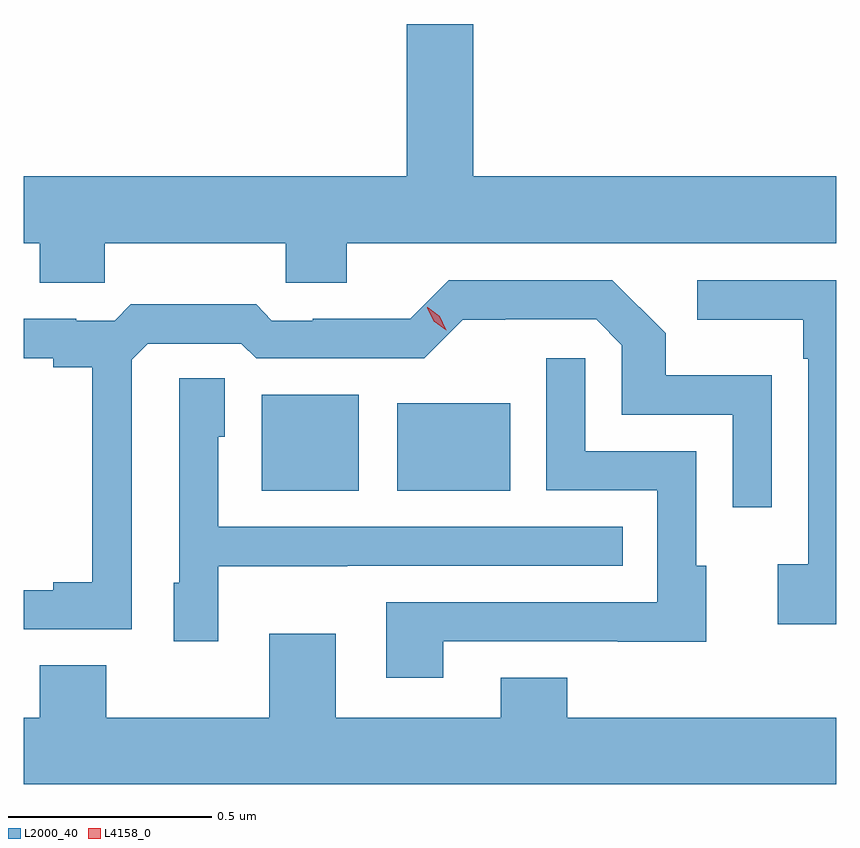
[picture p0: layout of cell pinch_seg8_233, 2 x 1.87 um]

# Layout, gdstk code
import gdstk
lib = gdstk.Library(unit=1e-6, precision=1e-09)
def R(c, l, rs):  # rectangles x0, y0, x1, y1
    for r in rs: c.add(gdstk.rectangle(r[:2], r[2:], *l))
def P(c, l, *ps):  # polygons
    for p in ps: c.add(gdstk.Polygon(p, *l))
L2000_40 = (2000, 40)
L4158_0 = (4158, 0)

pinch_seg8_233 = lib.new_cell('pinch_seg8_233')
R(pinch_seg8_233, L2000_40, [(692.123,1113.227,692.362,1113.463), (692.456,1113.227,692.734,1113.442)])
P(pinch_seg8_233, L2000_40, [(691.737,1113.836),(692.182,1113.836),(692.182,1113.738),(692.332,1113.738),(692.332,1113.836),(693.537,1113.836),(693.537,1114),(692.644,1114),(692.644,1114.375),(692.48,1114.375),(692.48,1114),(691.537,1114),(691.537,1113.836),(691.577,1113.836),(691.577,1113.738),(691.737,1113.738)],
  [(691.803,1113.549),(691.842,1113.588),(692.073,1113.588),(692.109,1113.552),(692.523,1113.552),(692.618,1113.647),(692.722,1113.647),(692.722,1113.648),(692.946,1113.648),(693.009,1113.585),(693.009,1113.414),(693.282,1113.414),(693.282,1113.186),(693.378,1113.186),(693.378,1113.511),(693.117,1113.511),(693.117,1113.614),(692.986,1113.744),(692.583,1113.744),(692.489,1113.65),(692.248,1113.65),(692.248,1113.645),(692.148,1113.645),(692.109,1113.685),(691.801,1113.685),(691.761,1113.645),(691.667,1113.645),(691.667,1113.65),(691.537,1113.65),(691.537,1113.552),(691.61,1113.552),(691.61,1113.53),(691.706,1113.53),(691.706,1113.002),(691.61,1113.002),(691.61,1112.982),(691.537,1112.982),(691.537,1112.886),(691.803,1112.886)],
  [(693.537,1113.744),(693.195,1113.744),(693.195,1113.647),(693.456,1113.647),(693.456,1113.551),(693.468,1113.551),(693.468,1113.046),(693.393,1113.046),(693.393,1112.898),(693.537,1112.898)],
  [(692.569,1112.856),(692.999,1112.856),(692.999,1112.855),(693.217,1112.855),(693.217,1113.042),(693.192,1113.042),(693.192,1113.324),(692.919,1113.324),(692.919,1113.553),(692.823,1113.553),(692.823,1113.228),(693.096,1113.228),(693.096,1112.952),(692.429,1112.952),(692.429,1112.766),(692.569,1112.766)],
  [(692.016,1113.041),(692.333,1113.041),(692.333,1113.042),(693.011,1113.042),(693.011,1113.138),(692.016,1113.138),(692.016,1113.36),(692.032,1113.36),(692.032,1113.503),(691.92,1113.503),(691.92,1113),(691.907,1113),(691.907,1112.856),(692.016,1112.856)],
  [(693.537,1112.668),(692.875,1112.668),(692.875,1112.767),(692.711,1112.767),(692.711,1112.668),(692.305,1112.668),(692.305,1112.875),(692.141,1112.875),(692.141,1112.668),(691.741,1112.668),(691.741,1112.797),(691.577,1112.797),(691.577,1112.668),(691.537,1112.668),(691.537,1112.505),(693.537,1112.505)])
P(pinch_seg8_233, L4158_0, [(692.577,1113.622),(692.546,1113.644),(692.53,1113.677),(692.53,1113.678),(692.531,1113.678),(692.561,1113.656),(692.577,1113.622),(692.577,1113.622)])

lib.write_gds('pinch_seg8_233.gds')
